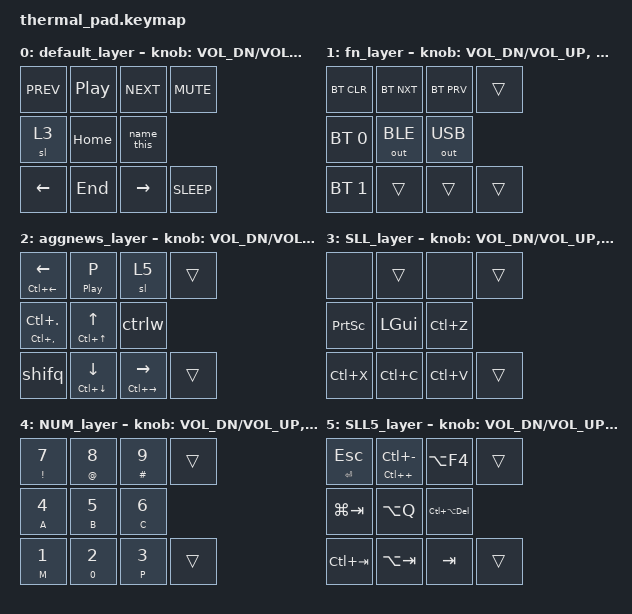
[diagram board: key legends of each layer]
#include <behaviors.dtsi>
#include <dt-bindings/zmk/keys.h>
#include <dt-bindings/zmk/bt.h>
#include <dt-bindings/zmk/outputs.h>

#define DEFAULT 0
#define FUNC    1
#define AGG     2
#define SLL     3
#define NUM     4
#define SLL5    5


&lt { quick-tap-ms = <150>; };

// keep it high until you're familiar with keyboard to avoid misclicks
// later lower it to <= 200

&mt {
  flavor = "tap-preferred";
    tapping-term-ms = <250>;
};

&sl {
    release-after-ms = <2000>;
};

#define NAV_LEFT  &mt LC(LEFT)   LEFT    // tap: left  | long-tap: beginning of line
#define NAV_RIGHT &mt LC(RIGHT)  RIGHT   // tap: right | long-tap: end       of line
#define NAV_UP    &mt LC(HOME) UP      // tap: up    | long-tap: beginning of document
#define NAV_DOWN  &mt LC(END)  DOWN    // tap: down  | long-tap: end       of document
#define NAV_BSPC  &mt LC(BSPC) BSPC    // tap: bspc  | long-tap: delete word backward
#define NAV_DEL   &mt LC(DEL)  DEL     // tap: del   | long-tap: delete word forward


#define NAV_UP2    &mt LC(UP) UP      // tap: up    | long-tap: beginning of document
#define NAV_DOWN2  &mt LC(DOWN)  DOWN    // tap: down  | long-tap: end       of document

#define NAV_AGG_TAB   &mt LC(COMMA)  LC(DOT)     // tap: DOT   | long-tap: COMMA

#define AGG_ZOOM   &mt LC(PLUS)  LC(MINUS)     // tap: ZOOM OUT   | long-tap: ZOOM IN

/ {
    combos {
        compatible = "zmk,combos";
        
      combo_bootloader {
            timeout-ms = <50>;
            key-positions = <4 5 6>;
            bindings = <&bootloader>;
        };
      
    combo_layer {
            timeout-ms = <50>;
            key-positions = <0 1>;
            bindings = <&tog FUNC>;
        };
    combo_layer2 {
            timeout-ms = <50>;
            key-positions = <1 2>;
            bindings = <&tog AGG>;
        };
    combo_layer3 {
            timeout-ms = <50>;
            key-positions = <7 8 9>;
            bindings = <&tog NUM>;
        };
    combo_layer4 {
            timeout-ms = <50>;
            key-positions = <2 6>;
            bindings = <&tog SLL>;
        };

    };
};

/ {
    macros {
        name_this: name_this {
            compatible = "zmk,behavior-macro";
            #binding-cells = <0>;
            bindings
                = <&macro_press &kp LSHFT>
                , <&macro_tap &kp T &kp H &kp E &kp R &kp M &kp A &kp L>
                , <&macro_release &kp LSHFT>
                ;
        };

tabagg: tabagg {
            compatible = "zmk,behavior-macro";
            #binding-cells = <0>;
            bindings
                = <&macro_press &kp LALT>
                , <&macro_tap &kp N3>
                , <&macro_release &kp LALT>
                ;
        };
ctrlw: ctrlw {
            compatible = "zmk,behavior-macro";
            #binding-cells = <0>;
            bindings
                = <&macro_press &kp LCTRL>
                , <&macro_tap &kp W>
                , <&macro_release &kp LCTRL>
                ;
        };

ctrlup: ctrlup {
            compatible = "zmk,behavior-macro";
            #binding-cells = <0>;
            bindings
                = <&macro_press &kp LCTRL>
                , <&macro_tap &kp UP>
                , <&macro_release &kp LCTRL>
                ;
        };
shifq: shifq {
            compatible = "zmk,behavior-macro";
            #binding-cells = <0>;
            bindings
                = <&macro_press &kp LSHFT>
                , <&macro_tap &kp QMARK>
                , <&macro_release &kp LSHFT>
                ;
        };

    };
};

/ {
    keymap {
        compatible = "zmk,keymap";

        default_layer {
            bindings = <
                &kp C_PREV  &kp C_PLAY_PAUSE  &kp C_NEXT  &kp C_MUTE
                &sl 3       &kp HOME          &name_this
                &kp LEFT    &kp END           &kp RIGHT   &kp C_SLEEP
            >;

            sensor-bindings = <&inc_dec_kp C_VOL_DN C_VOL_UP &inc_dec_kp PG_UP PG_DN>;

        };

        fn_layer {
            bindings = <
                &bt BT_CLR   &bt BT_NXT   &bt BT_PRV  &trans
                &bt BT_SEL 0 &out OUT_BLE &out OUT_USB
                &bt BT_SEL 1 &trans       &trans      &trans
            >;

            sensor-bindings = <&inc_dec_kp C_VOL_DN C_VOL_UP &inc_dec_kp PG_UP PG_DN>;

        };

    aggnews_layer {
            bindings = <
                NAV_LEFT    &mt C_PLAY_PAUSE P      &sl 5        &trans
                NAV_AGG_TAB NAV_UP2                 &ctrlw      
                &shifq      NAV_DOWN2               NAV_RIGHT    &trans
            >;

            sensor-bindings = <&inc_dec_kp C_VOL_DN C_VOL_UP &inc_dec_kp PG_UP PG_DN>;

        };

    SLL_layer {
            bindings = <
                &none       &trans      &none        &trans
                &kp PSCRN   &kp LGUI    &kp LC(Z)
                &kp LC(X)   &kp LC(C)   &kp LC(V)    &trans
            >;

            sensor-bindings = <&inc_dec_kp C_VOL_DN C_VOL_UP &inc_dec_kp PG_UP PG_DN>;

        };

    NUM_layer {
            bindings = <
                &mt EXCL N7  &mt AT N8   &mt HASH N9  &trans
                &mt A N4     &mt B N5    &mt C N6
                &mt M N1     &mt N0 N2   &mt P N3     &trans
            >;

            sensor-bindings = <&inc_dec_kp C_VOL_DN C_VOL_UP &inc_dec_kp PG_UP PG_DN>;

        };

    SLL5_layer {
            bindings = <
                &mt ENTER ESC   AGG_ZOOM      &kp LA(F4)       &trans
                &kp LG(TAB)     &kp LA(Q)     &kp LC(LA(DEL))
                &kp LC(TAB)     &kp LA(TAB)   &kp TAB          &trans
            >;
            sensor-bindings = <&inc_dec_kp C_VOL_DN C_VOL_UP &inc_dec_kp PG_UP PG_DN>;
        };
    };
};
